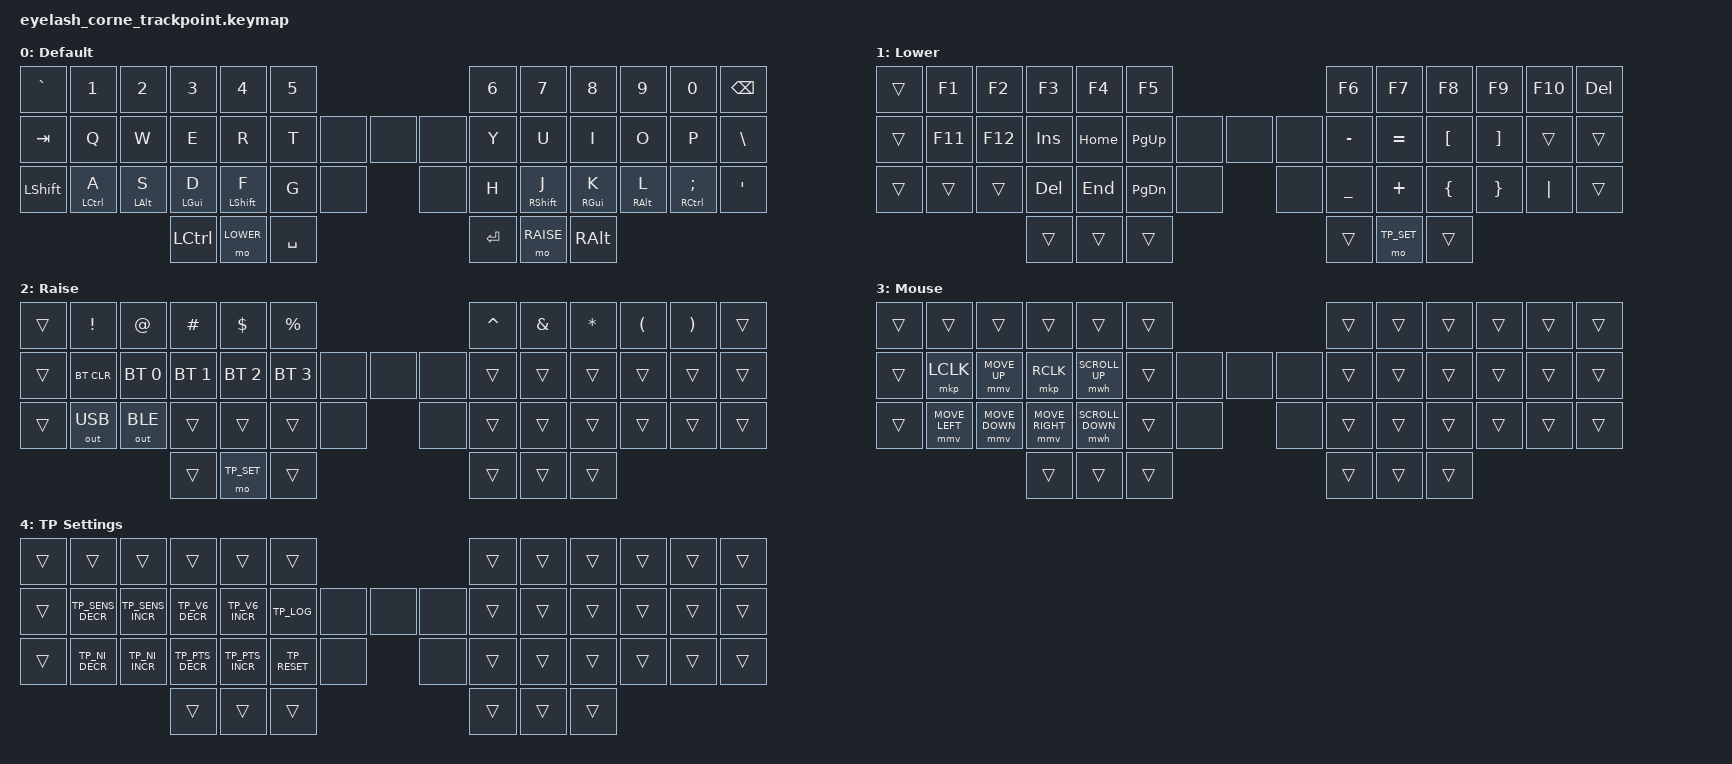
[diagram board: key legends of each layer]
/*
 * Copyright (c) 2024 The ZMK Contributors
 * SPDX-License-Identifier: MIT
 */

#define ZMK_POINTING_DEFAULT_MOVE_VAL 1200  // Default movement value

#include <input/processors.dtsi>
#include <behaviors.dtsi>
#include <dt-bindings/zmk/keys.h>
#include <dt-bindings/zmk/bt.h>
#include <dt-bindings/zmk/outputs.h>
#include <dt-bindings/zmk/mouse.h>
#include <dt-bindings/zmk/pointing.h>
#include <dt-bindings/zmk/mouse_settings.h>
#include <behaviors/mouse_keys.dtsi>
#include <behaviors/mouse_setting.dtsi>

// Layer definitions
#define DEFAULT 0
#define LOWER 1
#define RAISE 2
#define MOUSE 3
#define TP_SET 4

// Trackpoint settings key definitions
#define TP_SENS_INCR &mms MS_TP_SENSITIVITY_INCR
#define TP_SENS_DECR &mms MS_TP_SENSITIVITY_DECR
#define TP_V6_INCR &mms MS_TP_VALUE6_INCR
#define TP_V6_DECR &mms MS_TP_VALUE6_DECR
#define TP_NI_INCR &mms MS_TP_NEG_INERTIA_INCR
#define TP_NI_DECR &mms MS_TP_NEG_INERTIA_DECR
#define TP_PTS_INCR &mms MS_TP_PTS_THRESHOLD_INCR
#define TP_PTS_DECR &mms MS_TP_PTS_THRESHOLD_DECR
#define TP_RESET &mms MS_RESET
#define TP_LOG &mms MS_LOG

// Optional: Adjust pointing device input scale
&mmv_input_listener { input-processors = <&zip_xy_scaler 2 1>; };

&msc {
    time-to-max-speed-ms = <50>;
    acceleration-exponent = <1>;
};

&mmv {
    time-to-max-speed-ms = <500>;
    acceleration-exponent = <1>;
    trigger-period-ms = <16>;
};

// Only include these settings if the trackpoint is present
#ifdef MOUSE_PS2_DT_PRESENT
&mouse_ps2_input_listener {
    // X/Y adjustment as needed
    // xy-swap;
    x-invert;
    // y-invert;

    // Activate MOUSE layer when trackpoint is moving
    layer-toggle = <MOUSE>;
    layer-toggle-delay-ms = <250>;
    layer-toggle-timeout-ms = <250>;
};

&mouse_ps2 {
    // Trackpoint settings - adjust as needed
    tp-sensitivity = <135>;
    tp-neg-inertia = <6>;
    tp-val6-upper-speed = <152>;
    // tp-press-to-select;
    // tp-press-to-select-threshold = <10>;
};
#endif

// Key behavior definitions
/ {
    behaviors {
        hm: homerow_mods {
            compatible = "zmk,behavior-hold-tap";
            label = "HOMEROW_MODS";
            #binding-cells = <2>;
            tapping-term-ms = <200>;
            quick-tap-ms = <0>;
            flavor = "tap-preferred";
            bindings = <&kp>, <&kp>;
        };
    };

    combos {
        compatible = "zmk,combos";
        combo_tp_settings {
            timeout-ms = <50>;
            key-positions = <13 14 15 16 17>;
            bindings = <&mo TP_SET>;
        };
    };

    keymap {
        compatible = "zmk,keymap";

        default_layer {
            display-name = "Default";
            bindings = <
&kp GRAVE   &kp N1       &kp N2       &kp N3       &kp N4       &kp N5                                     &kp N6       &kp N7       &kp N8       &kp N9       &kp N0       &kp BSPC
&kp TAB     &kp Q        &kp W        &kp E        &kp R        &kp T            &none   &none   &none    &kp Y        &kp U        &kp I        &kp O        &kp P        &kp BSLH
&kp LSHIFT  &hm LCTRL A  &hm LALT S   &hm LGUI D   &hm LSHFT F  &kp G            &none           &none    &kp H        &hm RSHFT J  &hm RGUI K   &hm RALT L   &hm RCTRL SEMI &kp SQT
                                      &kp LCTRL    &mo LOWER    &kp SPACE                                 &kp RET      &mo RAISE    &kp RALT
            >;
        };

        lower_layer {
            display-name = "Lower";
            bindings = <
&trans      &kp F1       &kp F2       &kp F3       &kp F4       &kp F5                                     &kp F6       &kp F7       &kp F8       &kp F9       &kp F10      &kp DEL
&trans      &kp F11      &kp F12      &kp INS      &kp HOME     &kp PG_UP        &none   &none   &none    &kp MINUS    &kp EQUAL    &kp LBKT     &kp RBKT     &trans       &trans
&trans      &trans       &trans       &kp DEL      &kp END      &kp PG_DN        &none           &none    &kp UNDER    &kp PLUS     &kp LBRC     &kp RBRC     &kp PIPE     &trans
                                      &trans       &trans       &trans                                     &trans       &mo TP_SET   &trans
            >;
        };

        raise_layer {
            display-name = "Raise";
            bindings = <
&trans      &kp EXCL     &kp AT       &kp HASH     &kp DLLR     &kp PRCNT                                  &kp CARET    &kp AMPS     &kp ASTRK    &kp LPAR     &kp RPAR     &trans
&trans      &bt BT_CLR   &bt BT_SEL 0 &bt BT_SEL 1 &bt BT_SEL 2 &bt BT_SEL 3     &none   &none   &none    &trans       &trans       &trans       &trans       &trans       &trans
&trans      &out OUT_USB &out OUT_BLE &trans       &trans       &trans           &none           &none    &trans       &trans       &trans       &trans       &trans       &trans
                                      &trans       &mo TP_SET   &trans                                     &trans       &trans       &trans
            >;
        };

        mouse_layer {
            display-name = "Mouse";
            bindings = <
&trans      &trans       &trans       &trans       &trans       &trans                                     &trans       &trans       &trans       &trans       &trans       &trans
&trans      &mkp LCLK    &mmv MOVE_UP &mkp RCLK    &mwh SCROLL_UP &trans         &none   &none   &none    &trans       &trans       &trans       &trans       &trans       &trans
&trans      &mmv MOVE_LEFT &mmv MOVE_DOWN &mmv MOVE_RIGHT &mwh SCROLL_DOWN &trans &none          &none    &trans       &trans       &trans       &trans       &trans       &trans
                                      &trans       &trans       &trans                                     &trans       &trans       &trans
            >;
        };

        trackpoint_settings_layer {
            display-name = "TP Settings";
            bindings = <
&trans      &trans       &trans       &trans       &trans       &trans                                     &trans       &trans       &trans       &trans       &trans       &trans
&trans      &TP_SENS_DECR &TP_SENS_INCR &TP_V6_DECR &TP_V6_INCR &TP_LOG          &none   &none   &none    &trans       &trans       &trans       &trans       &trans       &trans
&trans      &TP_NI_DECR  &TP_NI_INCR  &TP_PTS_DECR &TP_PTS_INCR &TP_RESET        &none           &none    &trans       &trans       &trans       &trans       &trans       &trans
                                      &trans       &trans       &trans                                     &trans       &trans       &trans
            >;
        };
    };
};
